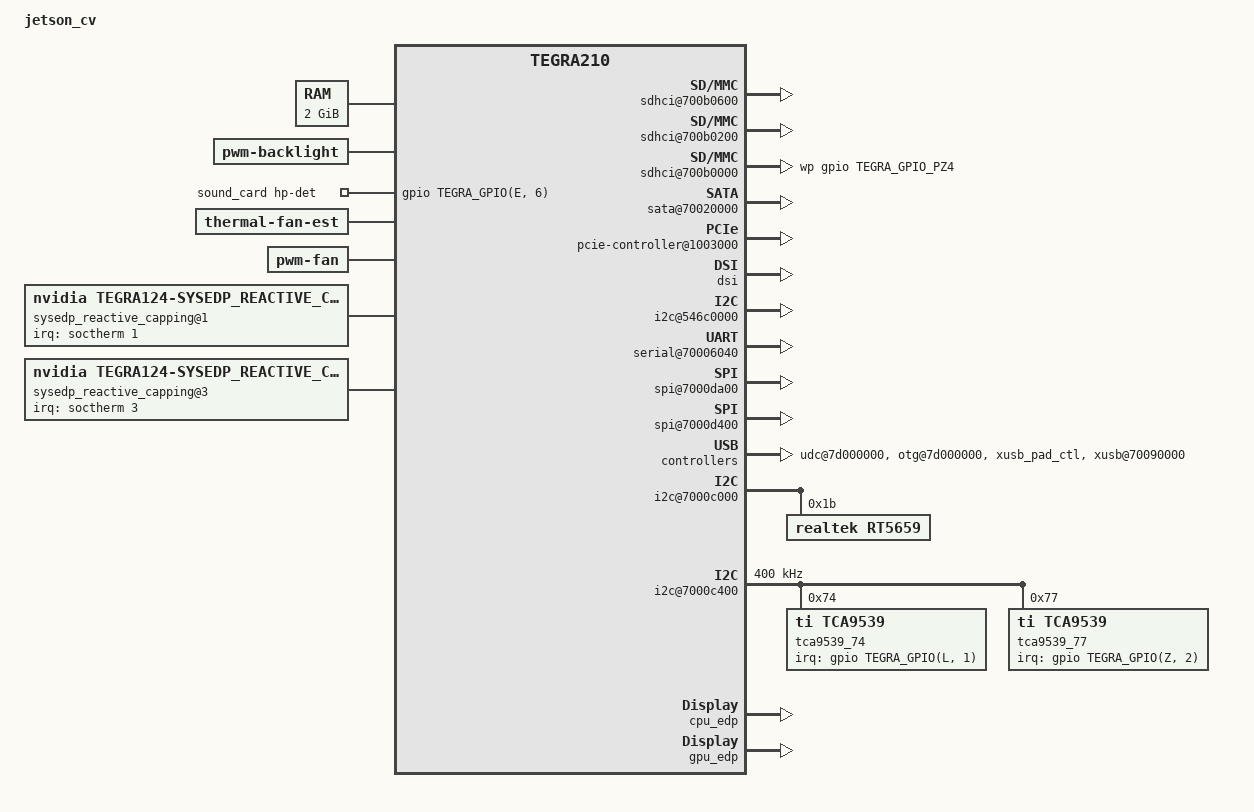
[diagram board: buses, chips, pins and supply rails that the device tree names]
/*
 * arch/arm64/boot/dts/tegra210-jetson-cv-base-p2597-2180-a00.dts
 *
 * Copyright (c) 2015-2016, NVIDIA CORPORATION.  All rights reserved.
 *
 * This program is free software; you can redistribute it and/or modify
 * it under the terms of the GNU General Public License as published by
 * the Free Software Foundation; version 2 of the License.
 *
 * This program is distributed in the hope that it will be useful, but WITHOUT
 * ANY WARRANTY; without even the implied warranty of MERCHANTABILITY or
 * FITNESS FOR A PARTICULAR PURPOSE.  See the GNU General Public License for
 * more details.
 *
 */

/dts-v1/;

/memreserve/ 0x80000000 0x00020000;

#include "tegra210-jetson-common.dtsi"
#include "tegra210-platforms/tegra210-audio.dtsi"
#include "tegra210-platforms/tegra210-jetson-cv-power-tree-p2597-2180-a00.dtsi"
#include "tegra210-platforms/tegra210-jetson-cv-pinmux-p2597-2180-a00.dtsi"
#include "tegra210-platforms/tegra210-jetson-cv-sdmmc-drv-p2597-2180-a00.dtsi"
#include "tegra210-platforms/tegra210-jetson-cv-prods.dtsi"
#include "tegra210-platforms/tegra210-comms-p2530-0930.dtsi"
#include "tegra210-platforms/tegra210-jetson-cv-camera-e3326-a00.dtsi"
#include "tegra210-platforms/tegra210-pwm-fan-p2530-0930.dtsi"
#include "panel-a-wuxga-8-0.dtsi"
#include "panel-s-edp-uhdtv-15-6.dtsi"
#include "tegra210-platforms/tegra210-ers-hdmi-e2190-1100-a00.dtsi"
#include "tegra210-platforms/tegra210-sdhci.dtsi"
#include "tegra210-platforms/tegra210-p2180-common.dtsi"
#include "tegra210-platforms/tegra210-thermal-fan-est-p2530-0930.dtsi"
#include "tegra210-platforms/tegra210-jetson-cv-keys-p2597-2180-a00.dtsi"
#include <dt-bindings/iio/meter/ina3221x.h>
#include "tegra210-platforms/tegra210-foster-e-extcon-p2530-0930-e01.dtsi"
#include "tegra210-platforms/tegra210-jetson-cv-emc-p2180-1000-a00.dtsi"
#include "tegra210-platforms/tegra210-edp.dtsi"
#include "tegra210-platforms/tegra210-sysedp.dtsi"
#include "tegra210-platforms/tegra210-thermal-nct72-p2530.dtsi"
#include "tegra210-platforms/tegra210-thermal-Tboard-Tdiode.dtsi"
#include "tegra210-platforms/tegra210-jetson-cv-powermon-p2180-1000-a00.dtsi"
#include "tegra210-platforms/tegra210-jetson-cv-powermon-p2597.dtsi"
#include "tegra210-platforms/tegra210-jetson-cpufreq.dtsi"
#include "tegra210-platforms/tegra210-overrides/tegra210-power-dvfs-override-ucm1c.dtsi"
#include "tegra210-platforms/tegra210-jetson-cv-super-module-e2614.dtsi"
#include "tegra210-plugin-manager/tegra210-jetson-cv-eeprom-manager.dtsi"
#include "tegra210-plugin-manager/tegra210-jetson-cv-plugin-manager.dtsi"

/ {
	model = "jetson_cv";
	compatible = "nvidia,jetson-cv", "nvidia,tegra210";
	nvidia,dtsfilename = __FILE__;

	nvidia,boardids = "2597:2180:A0";
	nvidia,proc-boardid = "2597:2180:A0";
	nvidia,pmu-boardid = "2597:2180:A0";
	#address-cells = <2>;
	#size-cells = <2>;

	chosen {
	};

	pmc@7000e400 {
		nvidia,invert-interrupt;
		io-pad-defaults {
			sdmmc1 {
				nvidia,enable-dynamic-pad-voltage;
			};
			sdmmc3 {
				nvidia,enable-dynamic-pad-voltage;
			};
		};
	};

	memory@80000000 {
		device_type = "memory";
		reg = < 0x0 0x80000000 0x0 0x80000000 >;
	};

	sdhci@700b0600 { /* SDMMC4 for EMMC */
		uhs-mask = <0x0>;
		built-in;
		power-off-rail;
		status = "okay";
	};

	sdhci@700b0200 { /* SDMMC2 for Wifi */
		uhs-mask = <0x8>;
		power-off-rail;
		status = "okay";
	};

	sdhci@700b0000 { /* SDMMC1 for SD card */
		uhs-mask = <0xc>;
		power-off-rail;
		nvidia,update-pinctrl-settings;
		pinctrl-names = "sdmmc_schmitt_enable", "sdmmc_schmitt_disable", "sdmmc_clk_schmitt_enable", "sdmmc_clk_schmitt_disable", "sdmmc_drv_code", "sdmmc_default_drv_code";
		pinctrl-0 = <&sdmmc1_schmitt_enable_state>;
		pinctrl-1 = <&sdmmc1_schmitt_disable_state>;
		pinctrl-2 = <&sdmmc1_clk_schmitt_enable_state>;
		pinctrl-3 = <&sdmmc1_clk_schmitt_disable_state>;
		pinctrl-4 = <&sdmmc1_drv_code_1_8V>;
		pinctrl-5 = <&sdmmc1_default_drv_code_3_3V>;
		nvidia,sd-device;
		wp-gpios = <&gpio TEGRA_GPIO_PZ4 0>;
		status = "okay";
	};

	adma@702e2000  {
		dma-channels = <10>;
		status = "okay";
	};

	ahub {
		i2s@702d1000 {
			pinctrl-names = "dap_active", "dap_inactive";
			pinctrl-0 = <>;
			pinctrl-1 = <>;
			regulator-supplies = "vdd-1v8-audio-hv", "vdd-1v8-audio-hv-bias";
			vdd-1v8-audio-hv-supply = <&max77620_sd3>;
			vdd-1v8-audio-hv-bias-supply = <&max77620_sd3>;
		};

		i2s@702d1300 {
			pinctrl-names = "dap_active", "dap_inactive";
			pinctrl-0 = <>;
			pinctrl-1 = <>;
			regulator-supplies = "vddio-dmic";
			vddio-dmic-supply = <&max77620_sd3>;
		};

		i2s@702d1100 {
			pinctrl-names = "dap_active", "dap_inactive";
			pinctrl-0 = <>;
			pinctrl-1 = <>;
			regulator-supplies = "vdd-1v8-spi-hv", "vdd-1v8-spi-hv-bias";
			vdd-1v8-spi-hv-supply = <&max77620_sd3>;
			vdd-1v8-spi-hv-bias-supply = <&max77620_sd3>;
			fsync-width = <0>;
		};
	};

	sata@70020000 {
		compatible = "nvidia,tegra210-ahci-sata";
		nvidia,enable-sata-port;
		status = "okay";
	};

	backlight {
		compatible = "pwm-backlight";
		status = "okay";
		panel-a-wuxga-8-0-bl {
			pwms = <&tegra_pwm 0 40161>;
		};
		panel-s-edp-uhdtv-15-6-bl {
			pwms = <&tegra_pwm 0 1000000>;
		};
	};

	pcie-controller@1003000 {
		nvidia,wake-gpio = <&gpio TEGRA_GPIO(A, 2) 0>;
		nvidia,lane-map = <0x14>;
		dvdd-pex-pll-supply = <&max77620_ldo1>;
		l0-dvddio-pex-supply = <&max77620_ldo1>;
		l1-dvddio-pex-supply = <&max77620_ldo1>;
		l2-dvddio-pex-supply = <&max77620_ldo1>;
		l3-dvddio-pex-supply = <&max77620_ldo1>;
		l4-dvddio-pex-supply = <&max77620_ldo1>;
		l5-dvddio-pex-supply = <&max77620_ldo1>;
		l6-dvddio-pex-supply = <&max77620_ldo1>;
		hvdd-pex-pll-e-supply = <&max77620_sd3>;
		l0-hvddio-pex-supply = <&max77620_sd3>;
		l1-hvddio-pex-supply = <&max77620_sd3>;
		l2-hvddio-pex-supply = <&max77620_sd3>;
		l3-hvddio-pex-supply = <&max77620_sd3>;
		l4-hvddio-pex-supply = <&max77620_sd3>;
		l5-hvddio-pex-supply = <&max77620_sd3>;
		l6-hvddio-pex-supply = <&max77620_sd3>;
		vddio-pex-ctl-supply = <&max77620_sd3>;
		status = "okay";

		pci@1,0 {
			status = "okay";
		};

		pci@2,0 {
			status = "okay";
		};
	};

	host1x {
		/* tegradc.0 */
		dc@54200000 {
			status = "okay";
			nvidia,dc-flags = <TEGRA_DC_FLAG_ENABLED>;
			nvidia,emc-clk-rate = <300000000>;
			nvidia,fb-bpp = <32>; /* bits per pixel */
			nvidia,fb-flags = <TEGRA_FB_FLIP_ON_PROBE>;
		};

		/* tegradc.1 */
		dc@54240000 {
			status = "okay";
			nvidia,dc-flags = <TEGRA_DC_FLAG_ENABLED>;
			nvidia,emc-clk-rate = <300000000>;
			nvidia,cmu-enable = <1>;
			nvidia,fb-bpp = <32>; /* bits per pixel */
			nvidia,fb-flags = <TEGRA_FB_FLIP_ON_PROBE>;
		};

		dsi {
			nvidia,dsi-controller-vs = <DSI_VS_1>;
			status = "okay";
			panel-a-wuxga-8-0 {
				status = "okay";
				nvidia,dsi-dpd-pads = <DSIC_DPD_EN DSID_DPD_EN>;
				nvidia,panel-rst-gpio = <&gpio TEGRA_GPIO(V, 2) 0>; /* PV2 */
				nvidia,panel-bl-pwm-gpio = <&gpio TEGRA_GPIO(V, 0) 0>; /* PV0 */
				disp-default-out {
					nvidia,out-flags = <TEGRA_DC_OUT_CONTINUOUS_MODE>;
				};
			};
		};

		sor {
			nvidia,hpd-gpio = <&gpio TEGRA_GPIO(CC, 6) 0>; /* PCC6 */
			panel-s-edp-uhdtv-15-6 {
				nvidia,panel-bl-pwm-gpio = <&gpio TEGRA_GPIO(V, 0) 0>; /* PV0 */
				nvidia,panel-rst-gpio = <&gpio TEGRA_GPIO(V, 2) 0>; /* PV2 */
			};
		};

		i2c@546c0000 {
			status = "okay";
			bus-pullup-supply = <&max77620_sd3>;
			avdd_dsi_csi-supply = <&max77620_sd3>;
		};

		vi {
			status = "okay";
			avdd_dsi_csi_supply = <&max77620_sd3>;
		};
	};

	serial@70006040 {
		status = "okay";
	};

	spi@7000da00 {
		status = "ok";
	};

	spi@7000d400 {
		status = "okay";
	};

	sound_card: sound {
		compatible = "nvidia,tegra-audio-t210ref-mobile-rt565x";
		nvidia,model = "tegra-snd-t210ref-mobile-rt565x";
		nvidia,hp-det-gpios = <&gpio TEGRA_GPIO(E, 6) GPIO_ACTIVE_HIGH>;

		/* used when no audio codec on board */
		nvidia,dummy-codec-dai = <&spdif_dit0>;
		nvidia,dummy-codec-dai-name = "dit-hifi";

		nvidia,num-codec-link = <5>;

		nvidia,audio-routing =
			"x Headphone Jack",	"x HPO L Playback",
			"x Headphone Jack",	"x HPO R Playback",
			"x MICBIAS1",		"x Mic Jack",
			"x IN1P",		"x Mic Jack",
			"x Mic Det Power",	"x Mic Jack",
			"x Int Spk",		"x SPO Playback",
			"x DMIC L1",		"x Int Mic",
			"x DMIC L2",		"x Int Mic",
			"x DMIC R1",		"x Int Mic",
			"x DMIC R2",		"x Int Mic",
			"y Headphone",		"y OUT",
			"y IN",			"y Mic",
			"l IN",			"l OUT",
			"s Headphone",		"s OUT",
			"s IN",			"s Mic";

		nvidia,xbar = <&tegra_axbar>;

		nvidia,dai-link-1 {
			link-name = "rt565x-playback";
			cpu-dai = <&tegra_i2s1>;
			codec-dai = <&rt5659>;
			cpu-dai-name = "I2S1";
			codec-dai-name = "rt5659-aif1";
			format = "i2s";
			bitclock-slave;
			frame-slave;
			bitclock-noninversion;
			frame-noninversion;
			bit-format = "s16_le";
			bclk_ratio = <0>;
			srate = <48000>;
			num-channel = <2>;
			name-prefix = "x";
		};

		nvidia,dai-link-2 {
			link-name = "spdif-dit-1";
			cpu-dai = <&tegra_i2s2>;
			codec-dai = <&spdif_dit1>;
			cpu-dai-name = "I2S2";
			codec-dai-name = "dit-hifi";
			format = "dsp_a";
			bitclock-slave;
			frame-slave;
			bitclock-inversion;
			frame-inversion;
			bit-format = "s16_le";
			bclk_ratio = <4>;
			srate = <8000>;
			num-channel = <1>;
			name-prefix = "y";
		};

		nvidia,dai-link-3 {
			link-name = "spdif-dit-2";
			cpu-dai = <&tegra_dmic3>;
			codec-dai = <&spdif_dit2>;
			cpu-dai-name = "DMIC3";
			codec-dai-name = "dit-hifi";
			format = "i2s";
			bit-format = "s16_le";
			srate = <48000>;
			num-channel = <2>;
			name-prefix = "z";
		};

		nvidia,dai-link-4 {
			link-name = "spdif-dit-3";
			cpu-dai = <&tegra_i2s3>;
			codec-dai = <&spdif_dit3>;
			cpu-dai-name = "I2S3";
			codec-dai-name = "dit-hifi";
			format = "i2s";
			bitclock-slave;
			frame-slave;
			bitclock-noninversion;
			frame-noninversion;
			bit-format = "s16_le";
			bclk_ratio = <0>;
			srate = <48000>;
			num-channel = <2>;
			name-prefix = "l";
		};

		nvidia,dai-link-5 {
			link-name = "spdif-dit-0";
			cpu-dai = <&tegra_i2s4>;
			codec-dai = <&spdif_dit0>;
			cpu-dai-name = "I2S4";
			codec-dai-name = "dit-hifi";
			format = "i2s";
			bitclock-slave;
			frame-slave;
			bitclock-noninversion;
			frame-noninversion;
			bit-format = "s16_le";
			bclk_ratio = <0>;
			srate = <48000>;
			num-channel = <2>;
			name-prefix = "s";
		};
	};

	adsp_audio {
		compr-ops = <1>;
		num-plugin = <5>;
		plugin-info-1 {
			plugin-name = "mp3-dec1";
			firmware-name = "nvmp3dec.elf";
			widget-name = "MP3-DEC1";
		};
		plugin-info-2 {
			plugin-name = "spkprot";
			firmware-name = "nvspkprot.elf";
			widget-name = "SPKPROT-SW";
		};
		plugin-info-3 {
			plugin-name = "src";
			firmware-name = "nvsrc.elf";
			widget-name = "SRC";
		};
		plugin-info-4 {
			plugin-name = "aac-dec1";
			firmware-name = "nvaacdec.elf";
			widget-name = "AAC-DEC1";
		};
		plugin-info-5 {
			plugin-name = "aec";
			firmware-name = "nvoice.elf";
			widget-name = "AEC";
		};
	};

	extcon {
		extcon@0 {
			status = "disabled";
		};
	};

	udc@7d000000 {
		nvidia,port-otg;
		nvidia,charging-supported;
		#extcon-cells = <1>;
		status = "okay";
	};

	otg@7d000000 {
		#extcon-cells = <1>;
		status = "okay";
	};

	xusb_pad_ctl: xusb_padctl { /* Put common control config here */
		nvidia,lane-map = <0x14>;
		nvidia,ss_ports = <TEGRA_XHCI_SS_P0 TEGRA_XHCI_USB2_P1 TEGRA_XHCI_LANE_6 TEGRA_XHCI_PORT_STD
				   TEGRA_XHCI_SS_P1 TEGRA_XHCI_USB2_P2 TEGRA_XHCI_LANE_5 TEGRA_XHCI_PORT_STD
				   TEGRA_XHCI_SS_P2 TEGRA_XHCI_USB2_P0 TEGRA_XHCI_UNUSED_LANE TEGRA_XHCI_PORT_OTG
				   TEGRA_XHCI_SS_P3 TEGRA_XHCI_UNUSED_PORT TEGRA_XHCI_UNUSED_LANE TEGRA_XHCI_PORT_STD>;
		nvidia,enable-sata-port;
		status = "okay";
	};

	xusb@70090000 {
		/* nvidia,uses_external_pmic;
		/* nvidia,gpio_controls_muxed_ss_lanes; */
		nvidia,gpio_ss1_sata = <0>;
		nvidia,ulpicap = <0>; /* No ulpi support. can we remove */
		nvidia,portmap = <0x0e03>;
		nvidia,common_padctl = <&xusb_pad_ctl>;
		status = "okay";
	};

	xudc@700d0000 {
		nvidia,common_padctl = <&xusb_pad_ctl>;
		nvidia,portmap = <0x0108>;
		#extcon-cells = <1>;
		status = "disabled";
	};

	xotg {
		#extcon-cells = <1>;
		nvidia,common_padctl = <&xusb_pad_ctl>;
		status = "disabled";
	};

	gpu-dvfs-rework {
		status = "ok";
	};

	thermal-fan-est {
		compatible = "thermal-fan-est";
		active_trip_temps = <0 51000 61000 71000 82000
				140000 150000 160000 170000 180000>;
		active_hysteresis = <0 15000 9000 9000 10000
				0 0 0 0 0>;
	};

	pwm-fan {
		compatible = "pwm-fan";
		shared_data = <&pwm_fan_shared_data>;
		active_pwm = <0 80 120 160 255 255 255 255 255 255>;
	};

	pwm_fan_shared_data: pfsd {
		tach_gpio =  <TEGRA_GPIO(K, 7)>; /* TEGRA_GPIO_PK7 */
	};

	i2c@7000c000 {
		rt5659: rt5659.0-001b@1b {
                        compatible = "realtek,rt5659";
                        reg = <0x1b>;
                };
	};

	i2c@7000c400 {
		nvidia,clock-always-on;

		lp8557-backlight-a-wuxga-8-0@2c {
			status = "disabled";
			disable-on-kernel-charging;
			compatible = "ti,lp8557";
			reg = <0x2c>;

			bl-name = "pwm-backlight"; /* Match liblights naming expectations */
			init-brt = /bits/ 8 <0xFF>; /* Max brightness */
			dev-ctrl = /bits/ 8 <0x80>; /* PWM, enable standby mode */
			pwm-period = <29334>;

			pwm-names = "lp8557";
			pwms = <&tegra_pwm 0 29334>;

			bl-measured = < 0 1 2 3 4 5 6 7
					8 9 10 11 12 13 14 15
					16 17 18 19 20 21 22 23
					24 25 26 27 28 29 30 31
					32 33 34 35 36 37 38 39
					40 41 42 43 44 45 46 47
					48 49 50 51 52 53 54 55
					56 57 58 59 60 61 62 63
					64 65 66 67 68 69 70 71
					72 73 74 75 76 77 78 79
					80 81 82 83 84 85 86 87
					88 89 90 91 92 93 94 95
					96 97 98 99 100 101 102 103
					104 105 106 107 108 109 110 111
					112 113 114 115 116 117 118 119
					120 121 122 123 124 125 126 127
					128 129 130 131 132 133 134 135
					136 137 138 139 140 141 142 143
					144 145 146 147 148 149 150 151
					152 153 154 155 156 157 158 159
					160 161 162 163 164 165 166 167
					168 169 170 171 172 173 174 175
					176 177 178 179 180 181 182 183
					184 185 186 187 188 189 190 191
					192 193 194 195 196 197 198 199
					200 201 202 203 204 205 206 207
					208 209 210 211 212 213 214 215
					216 217 218 219 220 221 222 223
					224 225 226 227 228 229 230 231
					232 233 234 235 236 237 238 239
					240 241 242 243 244 245 246 247
					248 249 250 251 252 253 254 255 >;

			/* 20 mA max current */
			rom_11h {
				rom-addr = /bits/ 8 <0x11>;
				rom-val = /bits/ 8 <0x05>;
			};

			/* 3 LED string */
			rom_14h {
				rom-addr = /bits/ 8 <0x14>;
				rom-val = /bits/ 8 <0x87>;
			};

			/*Boost freq 1MHZ*/
			rom_13h {
				rom-addr = /bits/ 8 <0x13>;
				rom-val = /bits/ 8 <0x01>;
			};
		};

		tca9539_74: tca9539@74 {
			compatible = "ti,tca9539";
			gpio-controller;
			#gpio-cells = <2>;
			reg = <0x74>;
			interrupt-parent = <&gpio>;
			interrupts = <TEGRA_GPIO(L, 1) 0x0>;
			#interrupt-cells = <2>;
			interrupt-controller;
		};

		tca9539_77: tca9539@77 {
			compatible = "ti,tca9539";
			gpio-controller;
			#gpio-cells = <2>;
			reg = <0x77>;
			interrupt-parent = <&gpio>;
			interrupts = <TEGRA_GPIO(Z, 2) 0x0>;
			#interrupt-cells = <2>;
			interrupt-controller;
		};
	};

	sysedp {
		compatible = "nvidia,tegra124-sysedp";
		nvidia,margin = <0>;
		nvidia,min_budget = <0>;
		nvidia,initial_budget = <40000>;
	};

	sysedp_reactive_capping@1 {
		compatible = "nvidia,tegra124-sysedp_reactive_capping";
		nvidia,max_capping_mw = <15000>;
		nvidia,step_alarm_mw = <1000>;
		nvidia,step_relax_mw = <500>;
		nvidia,relax_ms = <250>;
		nvidia,threshold_warning = "WARNING - SYSTEM Voltage Droop detected, please refer to the Jetson Power management application note";
		interrupt-parent = <&soctherm>;
		interrupts = <1 0x2002>;
		sysedpc {
			nvidia,name = "voltmon_oc1";
		};
	};

	sysedp_reactive_capping@3 {
		compatible = "nvidia,tegra124-sysedp_reactive_capping";
		nvidia,max_capping_mw = <15000>;
		nvidia,step_alarm_mw = <1000>;
		nvidia,step_relax_mw = <500>;
		nvidia,relax_ms = <250>;
		nvidia,threshold_warning = "WARNING - Battery Over Current Limit hit, please refer to the Jetson Power management application note";
		interrupt-parent = <&soctherm>;
		interrupts = <3 0x2002>;
		sysedpc {
			nvidia,name = "batmon_oc3";
		};
	};

	sysedp-dynamic-capping {
		compatible = "nvidia,tegra124-sysedp-dynamic-capping";
		nvidia,throttle_depth = <75>;
		nvidia,cap_method = <1>;
	};

	bcmdhd_wlan {
		edp-consumer-name = "primary-wifi";
	};

	cpu_edp {
		status = "okay";
		nvidia,edp_limit = <25000>;
	};

	gpu_edp {
		status = "okay";
		nvidia,edp_limit = <25000>;
	};

	soctherm@0x700E2000 {
		throttle@oc1 {
			device_type = "throttlectl";
			oc-alarm-id = <1>;
			priority = <50>;
			mode = "brief";
			intr;
			active_low;
			count_threshold = <100>;
			filter = <5100000>;
			throttle_dev = <&{/soctherm@0x700E2000/throttle_dev@cpu_medium}
					&{/soctherm@0x700E2000/throttle_dev@gpu_medium}>;
		};
		throttle@oc3 {
			device_type = "throttlectl";
			oc-alarm-id = <3>;
			priority = <40>;
			mode = "brief";
			intr;
			active_low;
			count_threshold = <15>;
			filter = <5100000>;
			throttle_dev = <&{/soctherm@0x700E2000/throttle_dev@cpu_medium}
					&{/soctherm@0x700E2000/throttle_dev@gpu_medium}>;
		};
		throttle_dev@cpu_medium {
			dividend = <63>;
			divisor = <255>;
			duration = <0>;
			step = <0>;
		};
		throttle_dev@gpu_medium {
			level = "medium_throttling";
		};
	};

	thermal-zones {
		CPU-therm {
			thermal-zone-params {
				governor-name = "pid_thermal_gov";
				max_err_temp = <9000>;
				max_err_gain = <1000>;
				gain_p = <1000>;
				gain_d = <0>;
				up_compensation = <20>;
				down_compensation = <20>;
			};
			trips {
				cpu_critical {
					temperature = <102500>;
					hysteresis = <0>;
					type = "critical";
					writable;
				};
				cpu_heavy {
					temperature = <98500>;
					hysteresis = <0>;
					type = "hot";
					writable;
				};
				cpu_throttle {
					temperature = <89000>;
					hysteresis = <0>;
					type = "passive";
					writable;
				};
			};
			cooling-maps {
				map0 {
					trip = <&{/thermal-zones/CPU-therm/trips/cpu_critical}>;
					cdev-type = "tegra-shutdown";
					cooling-device = <&{/soctherm@0x700E2000/throttle@critical}
						THERMAL_NO_LIMIT THERMAL_NO_LIMIT>;
				};
				map1 {
					trip = <&{/thermal-zones/CPU-therm/trips/cpu_heavy}>;
					cdev-type = "tegra-heavy";
					cooling-device = <&{/soctherm@0x700E2000/throttle@heavy}
						THERMAL_NO_LIMIT THERMAL_NO_LIMIT>;
				};
				map2 {
					trip = <&{/thermal-zones/CPU-therm/trips/cpu_throttle}>;
					cdev-type = "cpu-balanced";
					cooling-device = <&{/bthrot_cdev/cpu_balanced}
						THERMAL_NO_LIMIT THERMAL_NO_LIMIT>;
				};
			};
		};
		GPU-therm {
			thermal-zone-params {
				governor-name = "pid_thermal_gov";
				max_err_temp = <9000>;
				max_err_gain = <1000>;
				gain_p = <1000>;
				gain_d = <0>;
				up_compensation = <20>;
				down_compensation = <20>;
			};
			trips {
				gpu_critical {
					temperature = <103000>;
					hysteresis = <0>;
					type = "critical";
					writable;
				};
				gpu_heavy {
					temperature = <100000>;
					hysteresis = <0>;
					type = "hot";
					writable;
				};
				gpu_throttle {
					temperature = <90500>;
					hysteresis = <0>;
					type = "passive";
					writable;
				};
			};
			cooling-maps {
				map0 {
					trip = <&{/thermal-zones/GPU-therm/trips/gpu_critical}>;
					cdev-type = "tegra-shutdown";
					cooling-device = <&{/soctherm@0x700E2000/throttle@critical}
						THERMAL_NO_LIMIT THERMAL_NO_LIMIT>;
				};
				map1 {
					trip = <&{/thermal-zones/GPU-therm/trips/gpu_heavy}>;
					cdev-type = "tegra-heavy";
					cooling-device = <&{/soctherm@0x700E2000/throttle@heavy}
						THERMAL_NO_LIMIT THERMAL_NO_LIMIT>;
				};
				map2 {
					trip = <&{/thermal-zones/GPU-therm/trips/gpu_throttle}>;
					cdev-type = "gpu-balanced";
					cooling-device = <&{/bthrot_cdev/gpu_balanced}
						THERMAL_NO_LIMIT THERMAL_NO_LIMIT>;
				};
			};
		};
		LCPU-therm {
			thermal-zone-params {
				governor-name = "pid_thermal_gov";
				max_err_temp = <9000>;
				max_err_gain = <1000>;
				gain_p = <1000>;
				gain_d = <0>;
				up_compensation = <20>;
				down_compensation = <20>;
			};
			trips {
				lcpu_critical {
					temperature = <103000>; /* must be same as GPU's critical temp */
					hysteresis = <0>;
					type = "critical";
					writable;
				};
				lcpu_heavy {
					temperature = <101500>;
					hysteresis = <0>;
					type = "hot";
					writable;
				};
				lcpu_throttle {
					temperature = <92000>;
					hysteresis = <0>;
					type = "passive";
					writable;
				};
			};
			cooling-maps {
				map0 {
					trip = <&{/thermal-zones/LCPU-therm/trips/lcpu_critical}>;
					cdev-type = "tegra-shutdown";
					cooling-device = <&{/soctherm@0x700E2000/throttle@critical}
						THERMAL_NO_LIMIT THERMAL_NO_LIMIT>;
				};
				map1 {
					trip = <&{/thermal-zones/LCPU-therm/trips/lcpu_heavy}>;
					cdev-type = "tegra-heavy";
					cooling-device = <&{/soctherm@0x700E2000/throttle@heavy}
						THERMAL_NO_LIMIT THERMAL_NO_LIMIT>;
				};
				map2 {
					trip = <&{/thermal-zones/LCPU-therm/trips/lcpu_throttle}>;
					cdev-type = "cpu-balanced";
					cooling-device = <&{/bthrot_cdev/cpu_balanced}
						THERMAL_NO_LIMIT THERMAL_NO_LIMIT>;
				};
			};
		};
		PLL-therm {
			thermal-zone-params {
				governor-name = "pid_thermal_gov";
				max_err_temp = <9000>;
				max_err_gain = <1000>;
				gain_p = <1000>;
				gain_d = <0>;
				up_compensation = <20>;
				down_compensation = <20>;
			};
		};

		Tboard_tegra {
			status = "okay";
		};
		Tdiode_tegra {
			status = "okay";
		};
		AO-therm {
			status = "okay";
		};
	};

	bcmdhd_wlan {
		fw_path = "/system/vendor/firmware/fw_bcmdhd.bin";
		nv_path = "/system/etc/nvram_jetsonE_cv_4354.txt";
		country_code_map {
			CC1 {
				iso_abbrev = "XR";
				custom_locale = "XR";
				custom_locale_rev = <122>;
			};
			CC27 {
				iso_abbrev = "IN";
				custom_locale = "Q2";
				custom_locale_rev = <998>;
			};
		};
	};

	serial@70006300 {
		dma-names = "tx";
	};

	i2c@7000c400 {
		clock-frequency = <400000>;
	};

	i2c@7000d000 {
		clock-frequency = <1000000>;
	};

	dfll-max77621@70110000 {
		dfll-max77621-integration {
			i2c-fs-rate = <1000000>;
		};

		dfll-max77621-board-params {
			sample-rate = <20000>;
		};
	};

	soctherm@0x700E2000 {
		therm_gpu {
			enable-hw-pllx-offsetting;
			pllx-offset-max = <4000>;
			pllx-offset-min = <2000>;
		};
	};
};
